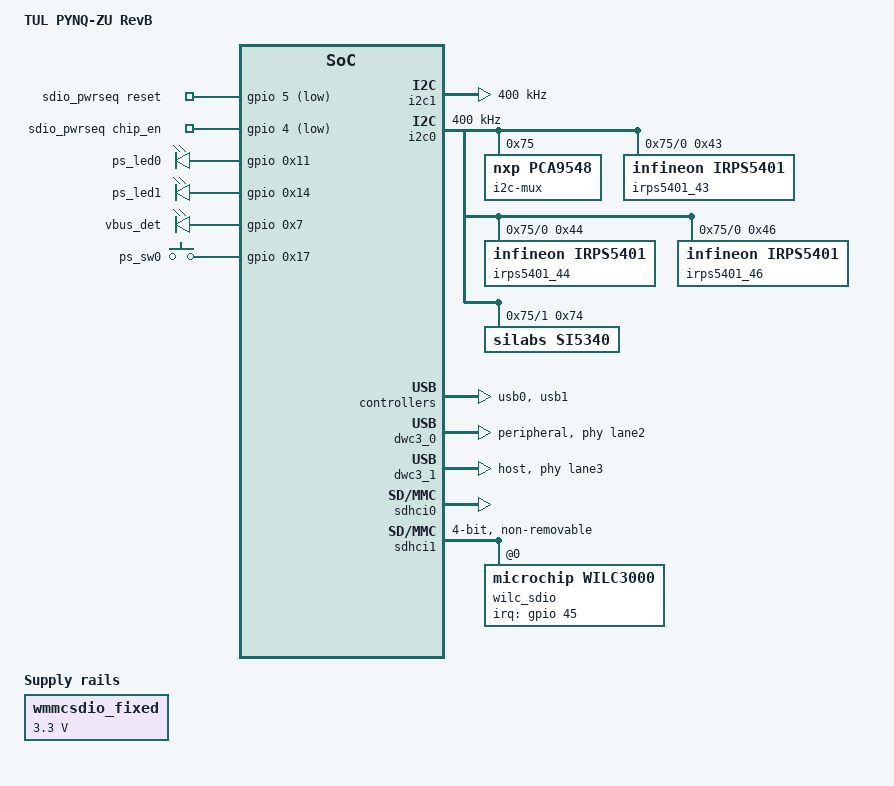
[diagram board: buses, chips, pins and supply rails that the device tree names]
/include/ "system-conf.dtsi"
/include/ "port-config.dtsi"
/ {
	model = "TUL PYNQ-ZU RevB";

	amba {
		audio0:audio-codec-ctrl@800e0000 {
			compatible = "generic-uio";
			reg = <0x0 0x800e0000 0x0 0x10000>;
		};
	};

	reserved-memory {
		#address-cells = <2>;
		#size-cells = <2>;
		ranges;

		linux,cma {
			linux,cma-default;
			compatible = "shared-dma-pool";
			alloc-ranges = <0x0 0x0 0x0 0x7ff00000>;
			size = <0x0 0x20000000>;
			alignment = <0x0 0x2000>;
			reusable;
		};
	};

	wmmcsdio_fixed:fixedregulator-mmcsdio {
		compatible = "regulator-fixed";
		regulator-name = "wmmcsdio_fixed";
		regulator-min-microvolt = <3300000>;
		regulator-max-microvolt = <3300000>;
		regulator-always-on;
		regulator-boot-on;
	};

	sdio_pwrseq: sdio_pwrseq {
		compatible = "mmc-pwrseq-simple";
		// MIO[5] RESETN for WILC3000 active low
		reset-gpios = <&gpio 5 1>;
		// requires a patched pwrseq_simple.c for WILC3000
		chip_en-gpios = <&gpio 4 1>;
		post-power-on-delay-ms = <10>;
	};

	leds {
		compatible = "gpio-leds";

		ps_led0 {
			label = "ps_led0";
			gpios = <&gpio 0x11 0x0>;
			linux,default-trigger = "heartbeat";
		};

		ps_led1 {
			label = "ps_led1";
			gpios = <&gpio 0x14 0x0>;
			default-state = "on";
		};

		vbus_det {
			label = "vbus_det";
			gpios = <&gpio 0x7 0x0>;
			default-state = "on";
		};

	};

	gpio-keys {
		compatible = "gpio-keys";
		autorepeat;

		ps_sw0 {
			label = "ps_sw0";
			gpios = <&gpio 0x17 0x0>;
			linux,code = <0x74>;
			gpio-key,wakeup;
		};
	};
};

&i2c1 {
	status = "okay";
	clock-frequency = <400000>;
	#address-cells = <1>;
	#size-cells = <0>;
};

&i2c0 {
	status = "okay";
	clock-frequency = <400000>;

	i2c-mux@75 {
		compatible = "nxp,pca9548";
		#address-cells = <1>;
		#size-cells = <0>;
		reg = <0x75>;

		i2c@0 {
			#address-cells = <0x1>;
			#size-cells = <0x0>;
			reg = <0x0>;

			irps5401_43: irps5401@43 {
				#clock-cells = <0x0>;
				compatible = "infineon,irps5401";
				reg = <0x43>;
			};

			irps5401_44: irps5401@44 {
				#clock-cells = <0x0>;
				compatible = "infineon,irps5401";
				reg = <0x44>;
			};

			irps5401_46: irps5401@46 {
				#clock-cells = <0x0>;
				compatible = "infineon,irps5401";
				reg = <0x46>;
			};
		};

		i2c@1 {
			#address-cells = <0x1>;
			#size-cells = <0x0>;
			reg = <0x1>;
			si5340: clock-generator@74 {
				compatible = "silabs,si5340";
				reg = <0x74>;
			};
		};

		i2c@2 {
			#address-cells = <0x1>;
			#size-cells = <0x0>;
			reg = <0x2>;
			label = "AUDIO";
		};

		i2c@3 {
			#address-cells = <0x1>;
			#size-cells = <0x0>;
			reg = <0x3>;
			label = "CAM";
		};

		i2c@4 {
			#address-cells = <0x1>;
			#size-cells = <0x0>;
			reg = <0x4>;
			label = "SYZYGY";
		};

		i2c@5 {
			#address-cells = <0x1>;
			#size-cells = <0x0>;
			reg = <0x5>;
			label = "FMC";
		};

		i2c@6 {
			#address-cells = <0x1>;
			#size-cells = <0x0>;
			reg = <0x6>;
			label = "USB";
		};
	};
};

&usb0 {
	status = "okay";
};

&dwc3_0 {
	status = "okay";
	dr_mode = "peripheral";
	phy-names = "usb3-phy";
	phys = <&lane2 4 0 0 26000000>;
	maximum-speed = "super-speed";
};

&usb1 {
	status = "okay";
};

&dwc3_1 {
	status = "okay";
	dr_mode = "host";
	phy-names = "usb3-phy";
	phys = <&lane3 4 1 0 26000000>;
	maximum-speed = "super-speed";
};

&sdhci0 {
	status = "okay";
	disable-wp;
	no-1-8-v;
};

&sdhci1 {
	status = "okay";
	max-frequency = <50000000>;
	broken-mmc-highspeed;
	disable-wp;
	non-removable;
	bus-width = <0x4>;
	mmc-pwrseq = <&sdio_pwrseq>;
	vqmmc-supply = <&wmmcsdio_fixed>;
	#address-cells = <0x1>;
	#size-cells = <0x0>;
	wilc_sdio@1 {
			compatible = "microchip,wilc3000";
			status = "okay";
			bus-width = <0x4>;
			reg = <0x0>;
			irq-gpios = <&gpio 45 0>;
		};
};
